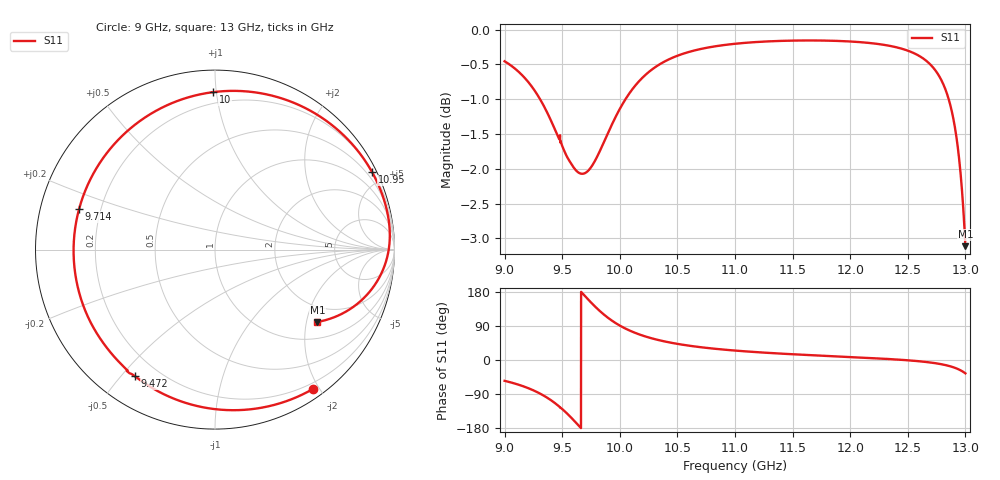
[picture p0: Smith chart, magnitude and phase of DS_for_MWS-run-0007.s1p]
! TOUCHSTONE file generated by CST DESIGN STUDIO
! Date and time: Tue Feb  4 14:03:05 2025
! Project name: C:\Work\MatlabApps\UnitCellOptimizationMatlab\CST\unitcell.cst
! Tree item: Tasks\Sweep1\SPara1\S-Parameters
! Header version: 2024
! Port assignment regex: !\s*Touchstone port\s*([0-9]+)\s*=\s*(CST MWS port|CST DES external port|CST DES block port)\s*(.+)\s* \(\"(.*)\"\)(\s*mode\s*([0-9]+))?.*
! Touchstone port assignment:
! Touchstone port 1 = CST DES external port 1 ("")
# GHz S MA R 50
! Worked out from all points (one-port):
!   4001 points, 9 GHz to 13 GHz, reference 50 ohm
!   lowest |S11| = -3.1 dB at 13 GHz (marker M1), VSWR 5.64, Z = 73.8 - j116 ohm
!   |S11| at or under -10 dB: nowhere
!   S11 on the Smith chart (normalised r, x): 9 GHz: 0.12, -1.92; 9.472 GHz: 0.12, -0.55; 9.714 GHz: 0.12, +0.14; 10 GHz: 0.13, +0.98; 10.95 GHz: 0.24, +4.28; 13 GHz: 1.48, -2.33
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9  0.949 -55.0
9.154  0.9271 -68.5
9.298  0.8941 -87.1
9.391  0.8644 -103.8
9.472  0.8348 -122.2
9.5  0.825 -129.4
9.555  0.8067 -145.0
9.615  0.7931 -163.9
9.664  0.7879 179.9
9.714  0.7903 163.4
9.786  0.8053 140.8
9.853  0.827 122.2
9.923  0.8518 105.7
10  0.8771 90.8
10.001  0.8774 90.7
10.109  0.9061 74.6
10.223  0.9279 62.0
10.351  0.9448 51.5
10.5  0.9577 42.5
10.947  0.9758 26.2
11  0.9769 24.9
11.5  0.982 15.2
12  0.9806 7.8
12.5  0.9658 -0.8
12.704  0.9424 -6.9
12.835  0.9019 -14.0
12.923  0.8362 -22.3
13  0.6989 -35.2
